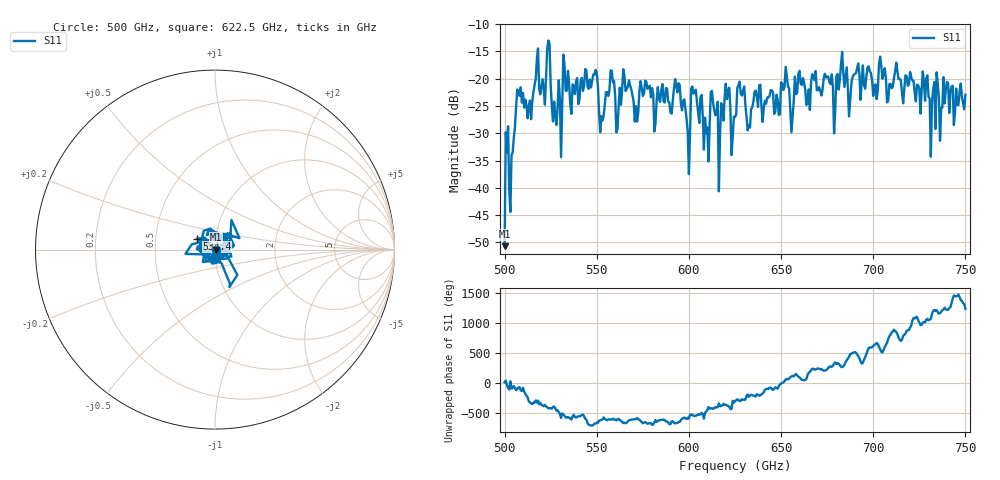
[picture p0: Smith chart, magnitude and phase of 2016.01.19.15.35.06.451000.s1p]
!Created with skrf (http://scikit-rf.org).
# GHz S RI R 50.0
!freq ReS11 ImS11
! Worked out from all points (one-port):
!   401 points, 500 GHz to 750 GHz, reference 50 ohm
!   lowest |S11| = -50.7 dB at 500 GHz (marker M1), VSWR 1.01, Z = 50.3 + j0.0285 ohm
!   |S11| at or under -10 dB: start of sweep to end of sweep
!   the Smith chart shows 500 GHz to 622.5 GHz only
!   S11 on the Smith chart (normalised r, x): 500 GHz: 1.01, +0.00; 534.4 GHz: 0.81, +0.10; 622.5 GHz: 1.01, -0.11
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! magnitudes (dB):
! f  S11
! 500 GHz  -50.7
! 507.5 GHz  -22.5
! 513.8 GHz  -24.0
! 523.8 GHz  -13.0
! 526.9 GHz  -24.2
! 531.2 GHz  -24.7
! 534.4 GHz  -18.6
! 552.5 GHz  -26.9
! 558.1 GHz  -18.6
! 562.5 GHz  -21.7
! 593.8 GHz  -22.5
! 599.4 GHz  -29.9
! 602.5 GHz  -22.8
! 609.4 GHz  -30.0
! 613.1 GHz  -24.4
! 615.6 GHz  -24.2
! 620.6 GHz  -23.8
! 622.5 GHz  -25.4
! 625 GHz  -27.0
! 627.5 GHz  -20.6
! 632.5 GHz  -28.5
! 651.9 GHz  -21.5
! 656.2 GHz  -26.9
! 660.6 GHz  -20.9
! 687.5 GHz  -23.9
! 718.8 GHz  -21.3
! 732.5 GHz  -22.1
! 750 GHz  -23.0
